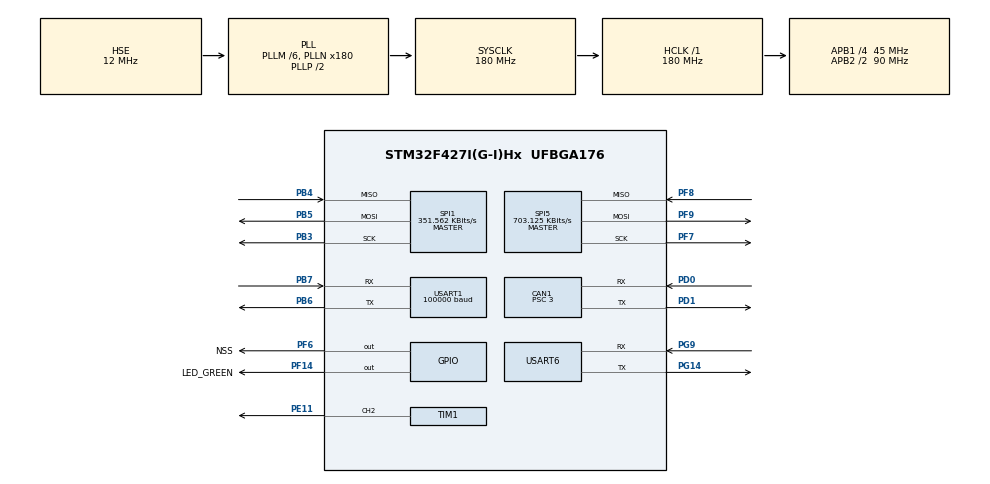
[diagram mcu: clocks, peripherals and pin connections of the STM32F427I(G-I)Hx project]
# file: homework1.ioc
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CAN1.BS1=CAN_BS1_10TQ
CAN1.BS2=CAN_BS2_4TQ
CAN1.CalculateBaudRate=1000000
CAN1.CalculateTimeBit=1000
CAN1.CalculateTimeQuantum=66.66666666666666
CAN1.Prescaler=3
Dma.Request0=USART1_RX
Dma.USART1_RX.0.Direction=DMA_PERIPH_TO_MEMORY
Dma.USART1_RX.0.FIFOMode=DMA_FIFOMODE_DISABLE
Dma.USART1_RX.0.Instance=DMA2_Stream2
Dma.USART1_RX.0.MemDataAlignment=DMA_MDATAALIGN_BYTE
Dma.USART1_RX.0.MemInc=DMA_MINC_ENABLE
Dma.USART1_RX.0.Mode=DMA_CIRCULAR
Dma.USART1_RX.0.PeriphDataAlignment=DMA_PDATAALIGN_BYTE
Dma.USART1_RX.0.PeriphInc=DMA_PINC_DISABLE
Dma.USART1_RX.0.Priority=DMA_PRIORITY_VERY_HIGH
Mcu.Family=STM32F4
Mcu.Name=STM32F427I(G-I)Hx
Mcu.Package=UFBGA176
NVIC.CAN1_RX0_IRQn=true\:0\:0\:false\:false\:true\:true\:true\:true
NVIC.DMA2_Stream2_IRQn=true\:0\:0\:false\:false\:true\:false\:true\:true
NVIC.PriorityGroup=NVIC_PRIORITYGROUP_4
NVIC.SPI5_IRQn=true\:0\:0\:false\:false\:true\:true\:true\:true
NVIC.TIM1_BRK_TIM9_IRQn=true\:0\:0\:false\:false\:true\:true\:true\:true
NVIC.TIM1_CC_IRQn=true\:0\:0\:false\:false\:true\:true\:true\:true
NVIC.TIM1_TRG_COM_TIM11_IRQn=true\:0\:0\:false\:false\:true\:true\:true\:true
NVIC.TIM1_UP_TIM10_IRQn=true\:0\:0\:false\:false\:true\:true\:true\:true
NVIC.TIM6_DAC_IRQn=true\:0\:0\:false\:false\:true\:true\:true\:true
NVIC.USART1_IRQn=true\:0\:0\:false\:false\:true\:true\:true\:true
NVIC.USART6_IRQn=true\:0\:0\:false\:false\:true\:true\:true\:true
PA13.Mode=Serial_Wire
PA13.Signal=SYS_JTMS-SWDIO
PA14.Mode=Serial_Wire
PA14.Signal=SYS_JTCK-SWCLK
PB3.GPIO_PuPd=GPIO_NOPULL
PB3.Mode=Full_Duplex_Master
PB3.Signal=SPI1_SCK
PB4.Mode=Full_Duplex_Master
PB4.Signal=SPI1_MISO
PB5.Mode=Full_Duplex_Master
PB5.Signal=SPI1_MOSI
PB6.Mode=Asynchronous
PB6.Signal=USART1_TX
PB7.Mode=Asynchronous
PB7.Signal=USART1_RX
PD0.Mode=CAN_Activate
PD0.Signal=CAN1_RX
PD1.Mode=CAN_Activate
PD1.Signal=CAN1_TX
PE11.Signal=S_TIM1_CH2
PF14.GPIO_Label=LED_GREEN
PF14.Signal=GPIO_Output
PF6.GPIO_Label=NSS
PF6.PinState=GPIO_PIN_SET
PF6.Signal=GPIO_Output
PF7.Mode=Full_Duplex_Master
PF7.Signal=SPI5_SCK
PF8.Mode=Full_Duplex_Master
PF8.Signal=SPI5_MISO
PF9.Mode=Full_Duplex_Master
PF9.Signal=SPI5_MOSI
PG14.Mode=Asynchronous
PG14.Signal=USART6_TX
PG9.Mode=Asynchronous
PG9.Signal=USART6_RX
PH0/OSC_IN.Mode=HSE-External-Oscillator
PH0/OSC_IN.Signal=RCC_OSC_IN
PH1/OSC_OUT.Mode=HSE-External-Oscillator
PH1/OSC_OUT.Signal=RCC_OSC_OUT
ProjectManager.HeapSize=0x200
ProjectManager.StackSize=0x400
ProjectManager.TargetToolchain=MDK-ARM V5.32
RCC.48MHZClocksFreq_Value=90000000
RCC.AHBFreq_Value=180000000
RCC.APB1CLKDivider=RCC_HCLK_DIV4
RCC.APB1Freq_Value=45000000
RCC.APB1TimFreq_Value=90000000
RCC.APB2CLKDivider=RCC_HCLK_DIV2
RCC.APB2Freq_Value=90000000
RCC.APB2TimFreq_Value=180000000
RCC.CortexFreq_Value=180000000
RCC.HCLKFreq_Value=180000000
RCC.HSE_VALUE=12000000
RCC.HSI_VALUE=16000000
RCC.LSE_VALUE=32768
RCC.PLLM=6
RCC.PLLN=180
RCC.PLLSourceVirtual=RCC_PLLSOURCE_HSE
RCC.SYSCLKFreq_VALUE=180000000
RCC.SYSCLKSource=RCC_SYSCLKSOURCE_PLLCLK
RCC.VCOOutputFreq_Value=360000000
SH.S_TIM1_CH2.0=TIM1_CH2,PWM Generation2 CH2
SPI1.BaudRatePrescaler=SPI_BAUDRATEPRESCALER_256
SPI1.CLKPhase=SPI_PHASE_2EDGE
SPI1.CLKPolarity=SPI_POLARITY_HIGH
SPI1.CalculateBaudRate=351.562 KBits/s
SPI1.Direction=SPI_DIRECTION_2LINES
SPI1.Mode=SPI_MODE_MASTER
SPI1.VirtualType=VM_MASTER
SPI5.BaudRatePrescaler=SPI_BAUDRATEPRESCALER_128
SPI5.CLKPhase=SPI_PHASE_1EDGE
SPI5.CLKPolarity=SPI_POLARITY_LOW
SPI5.CalculateBaudRate=703.125 KBits/s
SPI5.Direction=SPI_DIRECTION_2LINES
SPI5.Mode=SPI_MODE_MASTER
SPI5.VirtualType=VM_MASTER
TIM1.Channel-PWM\ Generation2\ CH2=TIM_CHANNEL_2
TIM1.Period=19999
TIM1.Prescaler=8999
TIM6.Period=9999
TIM6.Prescaler=8999
USART1.BaudRate=100000
USART1.Parity=PARITY_EVEN
USART1.VirtualMode=VM_ASYNC
USART1.WordLength=WORDLENGTH_9B
USART6.Parity=PARITY_EVEN
USART6.VirtualMode=VM_ASYNC
VP_TIM1_VS_ClockSourceINT.Mode=Internal
VP_TIM6_VS_ClockSourceINT.Mode=Enable_Timer
board=custom

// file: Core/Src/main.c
/* USER CODE BEGIN Header */
/**
  ******************************************************************************
  * @file           : main.c
  * @brief          : Main program body
  ******************************************************************************
  * @attention
  *
  * Copyright (c) 2024 STMicroelectronics.
  * All rights reserved.
  *
  * This software is licensed under terms that can be found in the LICENSE file
  * in the root directory of this software component.
  * If no LICENSE file comes with this software, it is provided AS-IS.
  *
  ******************************************************************************
  */
/* USER CODE END Header */
#include "main.h"
#include "can.h"
#include "dma.h"
#include "spi.h"
#include "tim.h"
#include "usart.h"
#include "gpio.h"

void SystemClock_Config(void);

/* USER CODE BEGIN 0 */

//spi
void BMI088_NSS_L(void) {//拉低NSS电平
  HAL_GPIO_WritePin(NSS_GPIO_Port, NSS_Pin, GPIO_PIN_RESET);
}
void BMI088_NSS_H(void) {//拉高NSS电平
  HAL_GPIO_WritePin(NSS_GPIO_Port, NSS_Pin, GPIO_PIN_SET);
}

void BMI088_WriteReg(uint8_t reg, uint8_t write_data) {
  BMI088_NSS_L();//根据手册，写入前拉低电平
  uint8_t data[2];
  data[0] = reg;
  data[1] = write_data;
  HAL_SPI_Transmit(&hspi5, data, 2, 1000);
  while(HAL_SPI_GetState(&hspi5) == HAL_SPI_STATE_BUSY_TX);
  BMI088_NSS_H();//根据手册，写入后拉高电平
}

void BMI088_ReadReg(uint8_t reg, uint8_t *return_data) {
  BMI088_NSS_L();//根据手册，读取前拉低电平
  HAL_Delay(1);
  uint8_t ttx_data = reg | 0x80;
  HAL_SPI_Transmit(&hspi5, &ttx_data, 1, 1000);//要先把前8位发送给从设备，告诉现在是读取模式，并且告知要读取的地址
  while(HAL_SPI_GetState(&hspi5) == HAL_SPI_STATE_BUSY_TX);
  HAL_SPI_Receive(&hspi5, return_data, 1, 1000);
  while(HAL_SPI_GetState(&hspi5) == HAL_SPI_STATE_BUSY_RX);
  HAL_Delay(1);
  BMI088_NSS_H();//根据手册，读取后拉高电平
}
uint8_t Rdata;
uint8_t lpl;
/* USER CODE END 0 */

int main(void)
{

  /* MCU Configuration--------------------------------------------------------*/

  /* Reset of all peripherals, Initializes the Flash interface and the Systick. */
  HAL_Init();

  /* Configure the system clock */
  SystemClock_Config();

  /* Initialize all configured peripherals */
  MX_GPIO_Init();
  MX_DMA_Init();
  MX_TIM1_Init();
  MX_TIM6_Init();
  MX_USART6_UART_Init();
  MX_CAN1_Init();
  MX_USART1_UART_Init();
  MX_SPI1_Init();
  MX_SPI5_Init();
  /* USER CODE BEGIN 2 */
  HAL_TIM_Base_Start_IT(&htim6);
  HAL_TIM_Base_Start_IT(&htim1);
  HAL_TIM_PWM_Start_IT(&htim1, TIM_CHANNEL_2);
  CAN_FilterTypeDef can_filter={0,0,0,0,CAN_RX_FIFO0,14,CAN_FILTERMODE_IDMASK,CAN_FILTERSCALE_32BIT,ENABLE,0};
  HAL_CAN_ConfigFilter(&hcan1,&can_filter);
  HAL_CAN_Start(&hcan1);
  HAL_CAN_ActivateNotification(&hcan1, CAN_IT_RX_FIFO0_MSG_PENDING);

  uint8_t ddbus_rx_data[18];
  HAL_UART_Receive_DMA(&huart1,ddbus_rx_data,18);
  /* USER CODE END 2 */

  /* Infinite loop */
  /* USER CODE BEGIN WHILE */
  char l[] = "Hello World!";
  while (1)
  {
    BMI088_WriteReg(117,lpl);
    BMI088_ReadReg(117,&Rdata);
    /* USER CODE END WHILE */

  }
}

void SystemClock_Config(void)
{
  RCC_OscInitTypeDef RCC_OscInitStruct = {0};
  RCC_ClkInitTypeDef RCC_ClkInitStruct = {0};

  /** Configure the main internal regulator output voltage
  */
  __HAL_RCC_PWR_CLK_ENABLE();
  __HAL_PWR_VOLTAGESCALING_CONFIG(PWR_REGULATOR_VOLTAGE_SCALE1);

  /** Initializes the RCC Oscillators according to the specified parameters
  * in the RCC_OscInitTypeDef structure.
  */
  RCC_OscInitStruct.OscillatorType = RCC_OSCILLATORTYPE_HSE;
  RCC_OscInitStruct.HSEState = RCC_HSE_ON;
  RCC_OscInitStruct.PLL.PLLState = RCC_PLL_ON;
  RCC_OscInitStruct.PLL.PLLSource = RCC_PLLSOURCE_HSE;
  RCC_OscInitStruct.PLL.PLLM = 6;
  RCC_OscInitStruct.PLL.PLLN = 180;
  RCC_OscInitStruct.PLL.PLLP = RCC_PLLP_DIV2;
  RCC_OscInitStruct.PLL.PLLQ = 4;
  if (HAL_RCC_OscConfig(&RCC_OscInitStruct) != HAL_OK)
  {
    Error_Handler();
  }

  /** Activate the Over-Drive mode
  */
  if (HAL_PWREx_EnableOverDrive() != HAL_OK)
  {
    Error_Handler();
  }

  /** Initializes the CPU, AHB and APB buses clocks
  */
  RCC_ClkInitStruct.ClockType = RCC_CLOCKTYPE_HCLK|RCC_CLOCKTYPE_SYSCLK
                              |RCC_CLOCKTYPE_PCLK1|RCC_CLOCKTYPE_PCLK2;
  RCC_ClkInitStruct.SYSCLKSource = RCC_SYSCLKSOURCE_PLLCLK;
  RCC_ClkInitStruct.AHBCLKDivider = RCC_SYSCLK_DIV1;
  RCC_ClkInitStruct.APB1CLKDivider = RCC_HCLK_DIV4;
  RCC_ClkInitStruct.APB2CLKDivider = RCC_HCLK_DIV2;

  if (HAL_RCC_ClockConfig(&RCC_ClkInitStruct, FLASH_LATENCY_5) != HAL_OK)
  {
    Error_Handler();
  }
}

void Error_Handler(void)
{
  __disable_irq();
  while (1)
  {
  }
}
